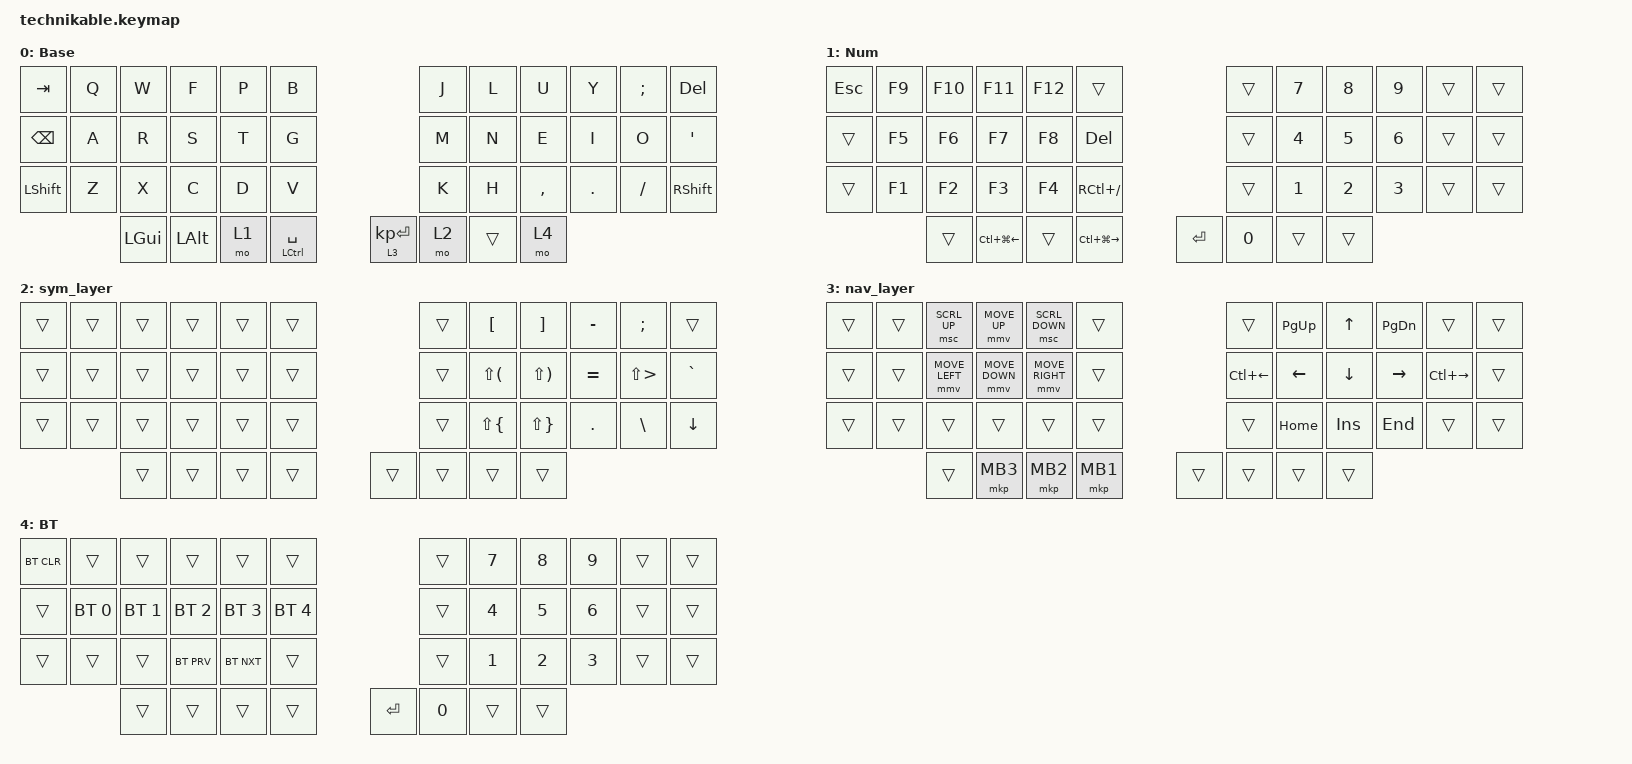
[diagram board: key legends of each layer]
/*
 * Copyright (c) 2022 Pete Johanson
 *
 * SPDX-License-Identifier: MIT
 */

#define ZMK_POINTING_DEFAULT_MOVE_VAL 1500
#define ZMK_POINTING_DEFAULT_SCRL_VAL 20

#include <behaviors.dtsi>
#include <dt-bindings/zmk/bt.h>
#include <dt-bindings/zmk/keys.h>
#include <dt-bindings/zmk/pointing.h>

#define BAS_L 0
#define NAV_L 1
#define NUM_L 2
#define SYM_L 3

// Using layer taps on thumbs, having quick tap as well helps w/ repeating space/backspace

&lt { quick_tap_ms = <200>; };

/ {
    chosen { zmk,matrix_transform = &ortho_transform; };

    conditional_layers { compatible = "zmk,conditional-layers"; };

    combos {
        compatible = "zmk,combos";

        caps {
            bindings = <&kp CAPS>;
            key-positions = <24 35>;
        };

        mute {
            bindings = <&kp C_MUTE>;
            key-positions = <13 14 15 16>;
        };

        volume_up {
            bindings = <&kp C_VOLUME_UP>;
            key-positions = <15 16>;
        };

        volume_down {
            bindings = <&kp C_VOLUME_DOWN>;
            key-positions = <13 14>;
        };
    };

    keymap {
        compatible = "zmk,keymap";

        base_layer {
            label = "Base";
            bindings = <
&kp TAB    &kp Q  &kp W     &kp F     &kp P  &kp B                                   &kp J  &kp L   &kp U      &kp Y    &kp SEMI  &kp DEL
&kp BSPC   &kp A  &kp R     &kp S     &kp T  &kp G                                   &kp M  &kp N   &kp E      &kp I    &kp O     &kp SQT
&kp LSHFT  &kp Z  &kp X     &kp C     &kp D  &kp V                                   &kp K  &kp H   &kp COMMA  &kp DOT  &kp FSLH  &kp RSHFT
                  &kp LGUI  &kp LALT  &mo 1  &mt LEFT_CONTROL SPACE  &lt 3 KP_ENTER  &mo 2  &trans  &mo 4
            >;
        };

        num_layer {
            label = "Num";
            bindings = <
&kp ESC  &kp F9  &kp F10  &kp F11                 &kp F12  &trans                        &trans  &kp N7        &kp N8  &kp N9  &trans  &trans
&trans   &kp F5  &kp F6   &kp F7                  &kp F8   &kp DEL                       &trans  &kp NUMBER_4  &kp N5  &kp N6  &trans  &trans
&trans   &kp F1  &kp F2   &kp F3                  &kp F4   &kp RC(SLASH)                 &trans  &kp N1        &kp N2  &kp N3  &trans  &trans
                 &trans   &kp LC(LG(LEFT_ARROW))  &trans   &kp LC(LG(RIGHT))  &kp ENTER  &kp N0  &trans        &trans
            >;
        };

        sym_layer {
            bindings = <
&trans  &trans  &trans  &trans  &trans  &trans          &trans  &kp LBKT      &kp RBKT      &kp MINUS  &kp SEMI    &trans
&trans  &trans  &trans  &trans  &trans  &trans          &trans  &kp LS(LPAR)  &kp LS(RPAR)  &kp EQUAL  &kp LS(GT)  &kp GRAVE
&trans  &trans  &trans  &trans  &trans  &trans          &trans  &kp LS(LBRC)  &kp LS(RBRC)  &kp DOT    &kp BSLH    &kp DOWN
                &trans  &trans  &trans  &trans  &trans  &trans  &trans        &trans
            >;
        };

        nav_layer {
            bindings = <
&trans  &trans  &msc SCRL_UP    &mmv MOVE_UP    &msc SCRL_DOWN   &trans            &trans        &kp PG_UP  &kp UP    &kp PG_DN  &trans         &trans
&trans  &trans  &mmv MOVE_LEFT  &mmv MOVE_DOWN  &mmv MOVE_RIGHT  &trans            &kp LC(LEFT)  &kp LEFT   &kp DOWN  &kp RIGHT  &kp LC(RIGHT)  &trans
&trans  &trans  &trans          &trans          &trans           &trans            &trans        &kp HOME   &kp INS   &kp END    &trans         &trans
                &trans          &mkp MB3        &mkp MB2         &mkp MB1  &trans  &trans        &trans     &trans
            >;
        };

        BT {
            bindings = <
&bt BT_CLR  &trans        &trans        &trans        &trans        &trans                   &trans  &kp N7        &kp N8        &kp N9        &trans  &trans
&trans      &bt BT_SEL 0  &bt BT_SEL 1  &bt BT_SEL 2  &bt BT_SEL 3  &bt BT_SEL 4             &trans  &kp N4        &kp N5        &kp N6        &trans  &trans
&trans      &trans        &trans        &bt BT_PRV    &bt BT_NXT    &trans                   &trans  &kp NUMBER_1  &kp NUMBER_2  &kp NUMBER_3  &trans  &trans
                          &trans        &trans        &trans        &trans        &kp ENTER  &kp N0  &trans        &trans
            >;
        };
    };
};
